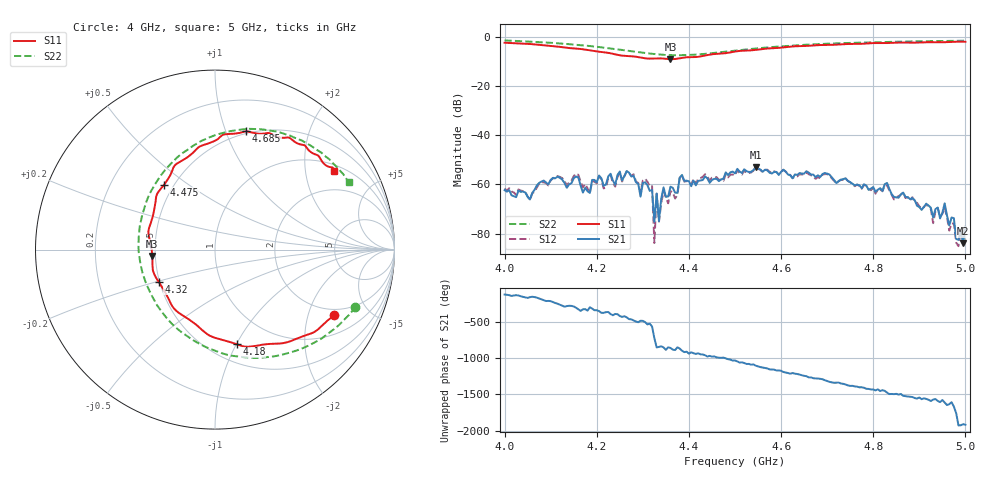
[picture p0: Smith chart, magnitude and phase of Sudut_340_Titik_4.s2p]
# Hz S RI R 50
! CMT, C1220, 16058040, 17.2.0/1
! Date: 15/08/2018 12:34:53
! Data: Format (Calibration Info)
! Freq  S11: Re/Im (F2)  S21: Re/Im (F2)  S12: Re/Im (F2)  S22: Re/Im (F2)
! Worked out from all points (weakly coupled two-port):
!   201 points, 4 GHz to 5 GHz, reference 50 ohm
!   highest |S21| = -52.92 dB at 4.545 GHz (marker M1); lowest = -84.0 dB at 4.995 GHz (marker M2)
!   lowest |S11| = -9.1 dB at 4.36 GHz (marker M3), VSWR 2.08, Z = 24.1 - j1.95 ohm
!   |S11| at or under -10 dB: nowhere
!   |S22| runs from -7.5 to -1.5 dB; largest |S21 - S12| = 0.00025
!   S11 on the Smith chart (normalised r, x): 4 GHz: 1.72, -2.97; 4.18 GHz: 0.67, -1.00; 4.32 GHz: 0.49, -0.20; 4.475 GHz: 0.44, +0.41; 4.685 GHz: 0.48, +1.18; 5 GHz: 1.22, +2.89
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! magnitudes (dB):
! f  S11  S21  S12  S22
! 4 GHz  -2.4  -62.4  -61.7  -1.5
! 4.155 GHz  -4.8  -56.8  -55.6  -3.2
! 4.17 GHz  -5.1  -63.3  -61.2  -3.5
! 4.18 GHz  -5.3  -62.8  -61.6  -3.6
! 4.265 GHz  -7.8  -54.6  -54.6  -5.6
! 4.32 GHz  -8.8  -62.3  -60.7  -6.9
! 4.325 GHz  -8.8  -75.2  -83.9  -7.0
! 4.33 GHz  -8.8  -63.7  -63.8  -7.1
! 4.335 GHz  -8.8  -74.8  -75.2  -7.2
! 4.345 GHz  -8.8  -61.2  -62.9  -7.3
! 4.36 GHz  -9.1  -60.9  -62.7  -7.4
! 4.475 GHz  -6.8  -57.6  -58.5  -6.1
! 4.5 GHz  -6.0  -55.5  -56.4  -5.6
! 4.545 GHz  -5.3  -52.9  -53.0  -4.8
! 4.67 GHz  -3.5  -56.0  -56.7  -3.1
! 4.685 GHz  -3.3  -57.0  -57.5  -2.9
! 4.835 GHz  -2.5  -61.9  -62.5  -2.0
! 4.93 GHz  -2.2  -73.5  -75.8  -1.7
! 4.955 GHz  -2.2  -67.7  -69.5  -1.7
! 4.965 GHz  -2.1  -76.7  -78.8  -1.6
! 4.995 GHz  -2.0  -84.0  -79.3  -1.6
! 5 GHz  -2.0  -77.3  -77.3  -1.6
